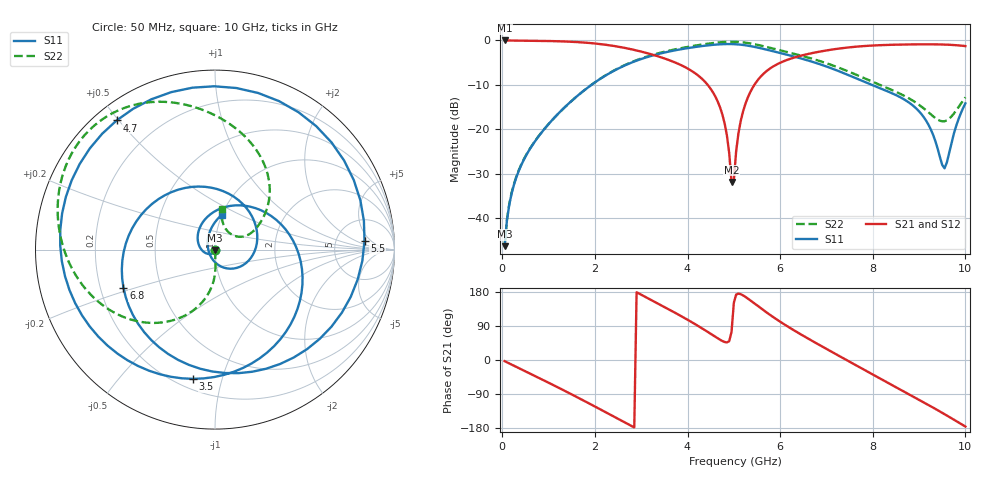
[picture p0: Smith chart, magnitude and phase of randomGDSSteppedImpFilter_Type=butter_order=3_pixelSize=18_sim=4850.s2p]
! freq	dB(S11)	phase(S11)	dB(S12)	phase(S12)
!  dB(S21)	phase(S21)	dB(S22)	phase(S22)
!S-par simulation data
#  GHz  S  DB  R 50
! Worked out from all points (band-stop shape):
!   200 points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, 50 MHz to 10 GHz, reference 50 ohm
!   highest |S21| = -0.01 dB at 50 MHz (marker M1); lowest = -31.8 dB at 4.95 GHz (marker M2)
!   |S21| within 3 dB of the highest: start of sweep to 3.179 GHz; 6.62 GHz to end of sweep
!   lowest |S11| = -46.3 dB at 50 MHz (marker M3), VSWR 1.01, Z = 50 - j0.484 ohm
!   |S11| at or under -10 dB: start of sweep to 1.925 GHz; 7.979 GHz to end of sweep
!   |S22| runs from -46.2 to -0.3 dB; largest |S21 - S12| = 0
!   S11 on the Smith chart (normalised r, x): 50 MHz: 1.00, -0.01; 3.5 GHz: 0.26, -0.81; 4.7 GHz: 0.06, +0.49; 5.5 GHz: 10, +3; 6.8 GHz: 0.30, -0.18; 10 GHz: 1.00, +0.40
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0.05  -46.29 -92.8  -0.01 -3.0  -0.01 -3.0  -46.19 -85.1
0.2  -34.49 -114.3  -0.02 -12.0  -0.02 -12.0  -34.34 -87.9
0.45  -27.15 -146.5  -0.05 -26.8  -0.05 -26.8  -27.04 -87.9
1.15  -17.10 130.3  -0.17 -69.1  -0.17 -69.1  -17.11 -90.3
1.75  -11.38 65.8  -0.46 -106.7  -0.46 -106.7  -11.38 -100.7
2.65  -5.61 -21.8  -1.69 -165.0  -1.69 -165.0  -5.52 -129.5
3.4  -2.97 -90.5  -3.70 146.4  -3.70 146.4  -2.81 -158.0
3.5  -2.73 -99.8  -4.05 139.9  -4.05 139.9  -2.55 -161.7
4.2  -1.42 -170.0  -7.66 92.0  -7.66 92.0  -1.11 171.6
4.7  -0.87 127.3  -15.00 53.7  -15.00 53.7  -0.42 150.6
4.85  -0.81 105.5  -21.34 46.3  -21.34 46.3  -0.31 143.7
4.95  -0.82 90.3  -31.82 74.0  -31.82 74.0  -0.29 138.9
5.05  -0.87 74.6  -24.91 172.7  -24.91 172.7  -0.32 134.1
5.5  -1.57 3.2  -9.15 144.1  -9.15 144.1  -0.97 113.2
6.05  -2.96 -73.0  -4.79 97.1  -4.79 97.1  -2.35 92.3
6.7  -4.82 -146.7  -2.83 49.8  -2.83 49.8  -4.14 70.4
6.8  -5.15 -157.3  -2.62 42.9  -2.62 42.9  -4.46 67.2
7.55  -8.13 121.7  -1.49 -8.0  -1.49 -8.0  -7.31 45.1
8.35  -11.59 30.7  -1.00 -61.7  -1.00 -61.7  -10.86 30.0
9.1  -17.25 -50.9  -0.87 -111.7  -0.87 -111.7  -15.29 24.9
9.55  -28.77 -168.8  -0.93 -142.9  -0.93 -142.9  -18.19 53.1
10  -14.16 79.3  -1.28 -175.7  -1.28 -175.7  -12.79 79.6
